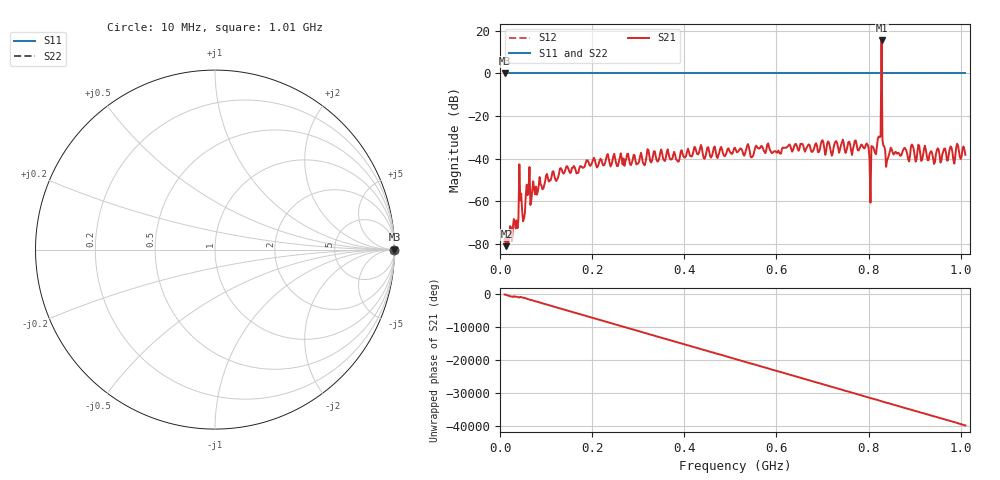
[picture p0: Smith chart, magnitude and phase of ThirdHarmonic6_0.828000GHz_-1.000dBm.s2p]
! 8/16/2025 3:30:18 AM
! C:\ANRITSUVNA\TEMP\TEMP.S2P
! CHANNEL.1
! TR.MEASUREMENT
! RAW.DATA
! RF.CORRECTION.OFF
! AVERAGING.OFF
! IF.BANDWIDTH: 5KHZ
! SWEEPTYPE:  FREQ.SWEEP(Linear)
! Reference Plane Port Info
! PORT:  PORT1  PORT2
! DISTANCE:  0  m  0  m
! TIME:  0  s  0  s
! PHASE.OFFSET:  0  deg.  0  deg.
! LOSS:  0  dB  0  dB
! REF.LOSS:  0  dB  0  dB
! REF.FREQ:  0  Hz  0  Hz
! Power Info
! POWER:  -20  dBm  -20  dBm
! EFF.POWER:  -20  dBm  -20  dBm
! SOURCE.ATTEN:  0  dB  0  dB
! TEST.ATTEN:  0  dB  0  dB
# GHZ S RI R 50.0
! FREQ.GHZ  S11RE  S11IM  S21RE  S21IM  S12RE  S12IM  S22RE  S22IM
!; PortSelection: Port_12
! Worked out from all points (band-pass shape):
!   501 points, 10 MHz to 1.01 GHz, reference 50 ohm
!   highest |S21| = 15.34 dB at 828 MHz (marker M1); lowest = -81.1 dB at 14 MHz (marker M2)
!   |S21| within 3 dB of the highest: 827.8663 MHz to 828.1285 MHz (262.2 kHz wide, 0.0317 % of centre)
!   lowest |S11| = 0.0 dB at 10 MHz (marker M3)
!   |S11| at or under -10 dB: nowhere
!   |S22| runs from 0.0 to 0.0 dB; largest |S21 - S12| = 6.5
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0.01  1 0  -0.000112 -2.19e-05  1 0  1 0
0.014  1 0  4.66e-05 7.52e-05  1 0  1 0
0.036  1 0  -0.000171 -0.000312  1 0  1 0
0.044  1 0  -0.00092 -0.000498  1 0  1 0
0.052  1 0  0.000136 -0.00037  1 0  1 0
0.06  1 0  -0.000121 -0.00138  1 0  1 0
0.07  1 0  0.000231 -0.00178  1 0  1 0
0.132  1 0  -0.00339 -0.00489  1 0  1 0
0.178  1 0  -0.00622 0.000879  1 0  1 0
0.344  1 0  0.00712 -0.00543  1 0  1 0
0.51  1 0  -0.00508 0.0172  1 0  1 0
0.678  1 0  -0.0144 0.000434  1 0  1 0
0.796  1 0  0.00335 0.0224  1 0  1 0
0.8  1 0  0.000936 -0.0177  1 0  1 0
0.806  1 0  0.0143 0.0133  1 0  1 0
0.822  1 0  -0.0169 0.0283  1 0  1 0
0.824  1 0  0.0274 0.0154  1 0  1 0
0.828  1 0  -3.68 -4.542  1 0  1 0
0.832  1 0  0.0163 0.012  1 0  1 0
0.834  1 0  0.0129 -0.0143  1 0  1 0
0.844  1 0  0.00815 -0.00883  1 0  1 0
1.01  1 0  0.00253 0.0119  1 0  1 0
